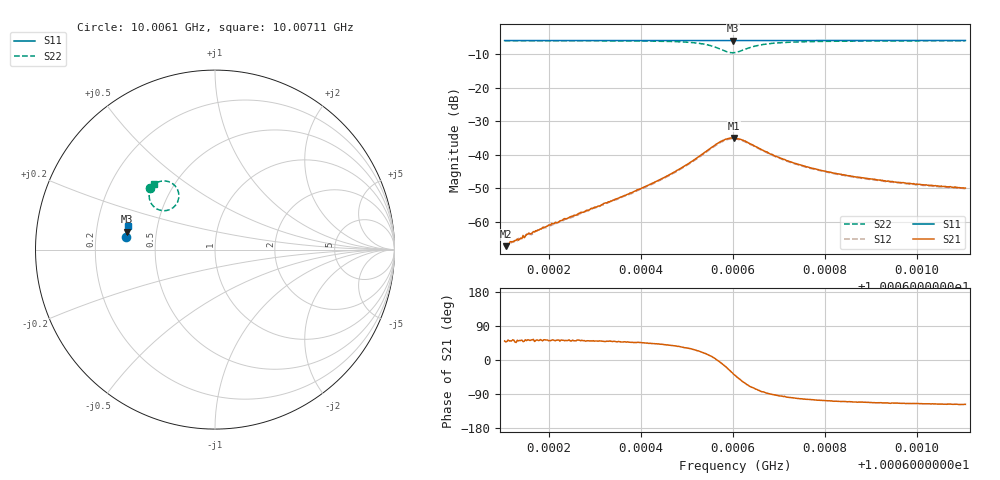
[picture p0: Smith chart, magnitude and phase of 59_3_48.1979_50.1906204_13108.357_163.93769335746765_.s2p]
#  HZ  S  RI  R  50.00
! Rohde & Schwarz Vector Network Analyzer
! Rohde-Schwarz,ZNB20-2Port,1311601062101988,3.16
! Created: UTC 3/20/2024, 11:38:42 AM
! freq[Hz]  re:S11  im:S11  re:S21  im:S21  re:S12  im:S12  re:S22  im:S22
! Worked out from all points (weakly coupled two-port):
!   401 points, 10.0061 GHz to 10.00711 GHz, reference 50 ohm
!   highest |S21| = -35.06 dB at 10.0066 GHz (marker M1); lowest = -67.4 dB at 10.00611 GHz (marker M2)
!   lowest |S11| = -6.0 dB at 10.0066 GHz (marker M3), VSWR 3.01, Z = 16.8 + j4.49 ohm
!   |S11| at or under -10 dB: nowhere
!   |S22| runs from -9.6 to -6.0 dB; largest |S21 - S12| = 0.0013
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1.0006103e10  -0.4969 0.0691  0.000281 0.000336  0.000264 0.000352  -0.3607 0.3449
1.0006106e10  -0.4968 0.0693  0.000288 0.000317  0.000259 0.000343  -0.3606 0.345
1.0006146e10  -0.4966 0.072  0.000372 0.000434  0.00034 0.000484  -0.3575 0.3481
1.0006156e10  -0.4965 0.0726  0.000404 0.000539  0.000365 0.0005  -0.3567 0.3488
1.0006271e10  -0.4956 0.0802  0.000836 0.00108  0.000797 0.00109  -0.3463 0.3586
1.0006374e10  -0.4947 0.0868  0.00177 0.0019  0.00163 0.00193  -0.3313 0.3693
1.0006439e10  -0.4938 0.0911  0.00307 0.00281  0.00289 0.00285  -0.314 0.3776
1.0006487e10  -0.4933 0.0943  0.00513 0.00355  0.00485 0.00367  -0.2907 0.3823
1.0006542e10  -0.492 0.0978  0.0107 0.00312  0.0102 0.00346  -0.2369 0.3678
1.0006574e10  -0.491 0.0994  0.0156 -0.00218  0.0154 -0.00142  -0.2018 0.3088
1.0006589e10  -0.4908 0.1001  0.0158 -0.00701  0.0157 -0.00602  -0.2091 0.2642
1.0006599e10  -0.4907 0.1003  0.0145 -0.01  0.0146 -0.00898  -0.2282 0.2383
1.0006602e10  -0.4907 0.1004  0.0139 -0.0109  0.0141 -0.0097  -0.2345 0.2331
1.0006605e10  -0.4908 0.1005  0.0134 -0.0114  0.0136 -0.0104  -0.2411 0.2287
1.0006622e10  -0.4909 0.1012  0.00874 -0.0138  0.00924 -0.013  -0.2902 0.2168
1.0006642e10  -0.4911 0.1025  0.0042 -0.0134  0.00481 -0.0129  -0.3314 0.2314
1.0006662e10  -0.4913 0.1037  0.00134 -0.0118  0.00202 -0.0116  -0.3528 0.2534
1.000672e10  -0.4909 0.1079  -0.00115 -0.00792  -0.00075 -0.00781  -0.3668 0.2986
1.0006772e10  -0.4905 0.1114  -0.00157 -0.00603  -0.00128 -0.00598  -0.3644 0.32
1.0006863e10  -0.4893 0.1172  -0.00167 -0.00436  -0.00144 -0.00438  -0.3571 0.3398
1.000694e10  -0.4882 0.1221  -0.00161 -0.00364  -0.00137 -0.00364  -0.3511 0.3504
1.0007106e10  -0.486 0.1327  -0.00144 -0.00281  -0.00132 -0.00278  -0.34 0.3652
